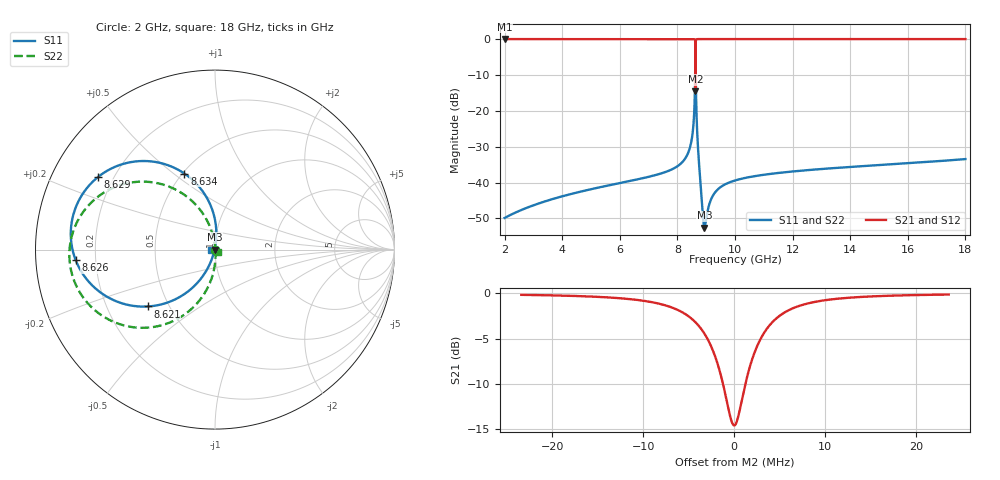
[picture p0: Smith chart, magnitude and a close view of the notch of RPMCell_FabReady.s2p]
! Sonnet Data File
! From: sonnet Version : 18.58
! From Emgraph Data:
! Data File Written: 12/12/2024 12:04:15
!< HDATE 12/12/2024 11:53:10
!< MDATE 12/12/2024 11:53:10
!< PARAMS
!< R_Cap_area = 4325.0
!< Cr_X = 115.5
!< capS = 10.0
!< END PARAMS
# GHZ S MA R 50.00000
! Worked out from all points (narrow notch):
!   758 points, 2 GHz to 18 GHz, reference 50 ohm
!   highest |S21| = 0.00 dB at 2 GHz (marker M1); lowest = -14.6 dB at 8.627 GHz (marker M2)
!   notch at M2: 14.5 dB deep, 3.95 MHz wide at half that depth
!   lowest |S11| = -52.6 dB at 8.941 GHz (marker M3), VSWR 1.00, Z = 49.8 + j0.0484 ohm
!   |S11| at or under -10 dB: start of sweep to 8.616 GHz; 8.638 GHz to end of sweep
!   |S22| runs from -52.9 to -1.8 dB; largest |S21 - S12| = 2.5e-09
!   S11 on the Smith chart (normalised r, x): 2 GHz: 1.00, -0.01; 8.621 GHz: 0.38, -0.32; 8.626 GHz: 0.12, -0.04; 8.629 GHz: 0.14, +0.28; 8.634 GHz: 0.51, +0.55; 18 GHz: 0.96, -0.01
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2  0.003217 -94.8  1 -1.2  1 -1.2  0.003216 -87.6
4.7  0.007589 -101.5  1 -2.8  1 -2.8  0.007588 -84.2
7.4  0.01329 -108.2  0.9999 -4.6  0.9999 -4.6  0.01328 -81.1
8.4  0.02775 -108.3  0.9995 -6.0  0.9995 -6.0  0.02774 -84.0
8.563364  0.06943 -109.0  0.9968 -8.5  0.9968 -8.5  0.06938 -89.2
8.599599  0.1434 -113.4  0.9856 -12.7  0.9856 -12.7  0.1432 -95.3
8.614116  0.2755 -122.7  0.9444 -20.5  0.9444 -20.5  0.2752 -105.4
8.621189  0.4911 -139.8  0.8076 -33.6  0.8076 -33.6  0.4906 -122.9
8.625967  0.7791 -175.9  0.3416 -46.2  0.3416 -46.2  0.7783 -159.3
8.627357  0.8132 167.3  0.1872 -5.0  0.1872 -5.0  0.8124 -176.2
8.628947  0.767 148.2  0.3729 37.8  0.3729 37.8  0.7662 164.6
8.63394  0.4568 111.9  0.8316 22.4  0.8316 22.4  0.4563 128.0
8.641153  0.2457 95.6  0.9536 9.7  0.9536 9.7  0.2454 111.2
8.65665  0.1142 86.6  0.9898 2.0  0.9898 2.0  0.114 101.1
8.701081  0.03878 83.5  0.9986 -2.3  0.9986 -2.3  0.03872 93.7
8.9  0.002928 130.0  0.9999 -4.6  0.9999 -4.6  0.002846 42.1
8.940668  0.002357 168.1  1 -4.7  1 -4.7  0.002273 2.5
9.301711  0.00725 -124.9  1 -5.3  1 -5.3  0.007237 -65.9
10  0.01071 -122.0  0.9999 -5.9  0.9999 -5.9  0.0107 -69.9
12.7  0.01513 -131.8  0.9999 -7.8  0.9999 -7.8  0.01512 -63.8
15.4  0.01796 -147.3  0.9998 -9.7  0.9998 -9.7  0.01794 -52.2
18  0.02128 -167.0  0.9998 -11.7  0.9998 -11.7  0.02125 -36.5
